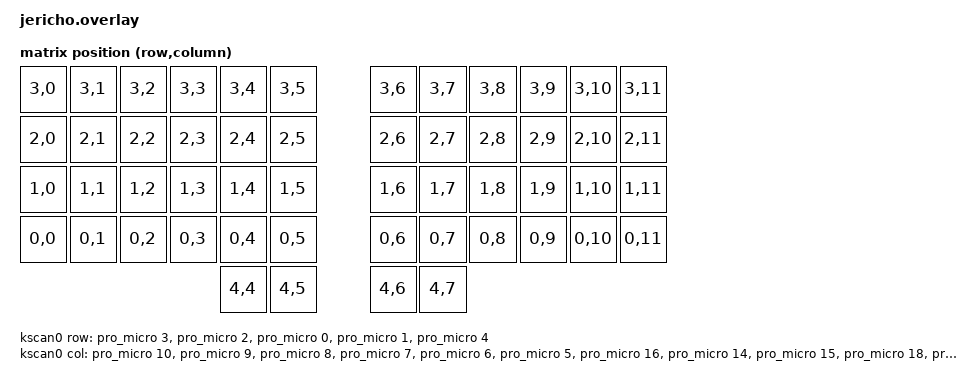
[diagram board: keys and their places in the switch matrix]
/*
 * Jericho V3 - custom ZMK shield
 *
 * Unibody board, single nice!nano v2, 5 rows x 12 columns, col2row diodes.
 *
 * Pin mapping and matrix population were traced directly from the KiCad
 * schematic (Jericho_V3), diode-by-diode. See README.md in this folder
 * for the full derivation notes.
 */

#include <dt-bindings/gpio/gpio.h>
#include <dt-bindings/zmk/matrix_transform.h>

/ {
    chosen {
        zmk,kscan = &kscan0;
        zmk,matrix-transform = &default_transform;
    };

    kscan0: kscan_0 {
        compatible = "zmk,kscan-gpio-matrix";
        wakeup-source;
        diode-direction = "col2row";

        row-gpios
            = <&pro_micro 3 GPIO_ACTIVE_HIGH>  /* row0 */
            , <&pro_micro 2 GPIO_ACTIVE_HIGH>  /* row1 */
            , <&pro_micro 0 GPIO_ACTIVE_HIGH>  /* row2 */
            , <&pro_micro 1 GPIO_ACTIVE_HIGH>  /* row3 */
            , <&pro_micro 4 GPIO_ACTIVE_HIGH>  /* row4 (thumbs) */
            ;

        col-gpios
            = <&pro_micro 10 GPIO_ACTIVE_HIGH>  /* col0  */
            , <&pro_micro 9  GPIO_ACTIVE_HIGH>  /* col1  */
            , <&pro_micro 8  GPIO_ACTIVE_HIGH>  /* col2  */
            , <&pro_micro 7  GPIO_ACTIVE_HIGH>  /* col3  */
            , <&pro_micro 6  GPIO_ACTIVE_HIGH>  /* col4  */
            , <&pro_micro 5  GPIO_ACTIVE_HIGH>  /* col5  */
            , <&pro_micro 16 GPIO_ACTIVE_HIGH>  /* col6  */
            , <&pro_micro 14 GPIO_ACTIVE_HIGH>  /* col7  */
            , <&pro_micro 15 GPIO_ACTIVE_HIGH>  /* col8  */
            , <&pro_micro 18 GPIO_ACTIVE_HIGH>  /* col9  */
            , <&pro_micro 19 GPIO_ACTIVE_HIGH>  /* col10 */
            , <&pro_micro 20 GPIO_ACTIVE_HIGH>  /* col11 */
            ;
    };

    /*
     * Reading order below is: row3 (top row) -> row2 -> row1 -> row0
     * (bottom row of the main block), left to right across all 12
     * columns, then the 4 thumb keys on row4 (only columns 4,5,6,7 are
     * wired on row4 - confirmed from the schematic).
     *
     * This order must match the order of key bindings in your keymap's
     * layers 1:1.
     */
    default_transform: keymap_transform_0 {
        compatible = "zmk,matrix-transform";
        columns = <12>;
        rows = <5>;

        map = <
RC(3,0) RC(3,1) RC(3,2) RC(3,3) RC(3,4) RC(3,5)   RC(3,6) RC(3,7) RC(3,8) RC(3,9) RC(3,10) RC(3,11)
RC(2,0) RC(2,1) RC(2,2) RC(2,3) RC(2,4) RC(2,5)   RC(2,6) RC(2,7) RC(2,8) RC(2,9) RC(2,10) RC(2,11)
RC(1,0) RC(1,1) RC(1,2) RC(1,3) RC(1,4) RC(1,5)   RC(1,6) RC(1,7) RC(1,8) RC(1,9) RC(1,10) RC(1,11)
RC(0,0) RC(0,1) RC(0,2) RC(0,3) RC(0,4) RC(0,5)   RC(0,6) RC(0,7) RC(0,8) RC(0,9) RC(0,10) RC(0,11)
                        RC(4,4) RC(4,5)   RC(4,6) RC(4,7)
        >;
    };
};
